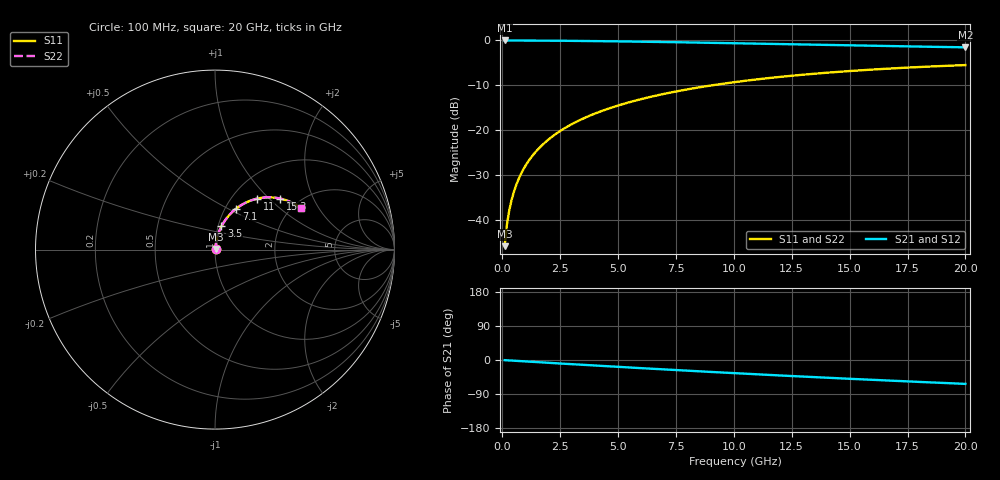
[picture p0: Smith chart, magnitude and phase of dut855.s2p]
! Touchstone file exported from HFSS 2026.1.0
!  File:  C:/ffzhzh/LocalFiles/Ansys_Project_Files/temp_train_TMRDL_855_1783157057_55132.aedt
!  Generated:  05:25:40 PM Jul  4, 2026
!  Design:  TMRDL
!  Project:  temp_train_TMRDL_855_1783157057_55132
! Variables:
!  h_bsmrdl = 2um
!  h_ox = 20um
!  h_rdl = 5um
!  h_sub = 80um
!  h_tmrdl = 5.8um
!  h_tsv = 80um
!  h_via = 3um
!  l_bsmrdl = 300um
!  l_sub = 1394.77um
!  l_tmrdl = 994.77um
!  m_sub = 200um
!  pitch = 59.33um
!  r_tsv = 6um
!  s_tmrdl = 10um
!  w_bsmrdl = 18um
!  w_sub = 500um
!  w_tmrdl = 22.95um
!  x_tsv_center1 = 1006.245um
!  x_tsv_center2 = 1324.245um
!  x_tsv_center3 = 2341.965um
!  x_tsv_center4 = 2659.965um
!  x_tsv_center5 = 3677.685um
!  x_tsv_center6 = 3995.685um
# GHz S MA R 50.000000
! Terminal data exported
! Port[1] = TM_RDL1_1_T1
! Port[2] = TM_RDL1_1_T2
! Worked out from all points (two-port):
!   200 points, 100 MHz to 20 GHz, reference 50 ohm
!   highest |S21| = -0.02 dB at 100 MHz (marker M1); lowest = -1.6 dB at 20 GHz (marker M2)
!   |S21| within 3 dB of the highest: start of sweep to end of sweep
!   lowest |S11| = -45.9 dB at 100 MHz (marker M3), VSWR 1.01, Z = 50.3 + j0.424 ohm
!   |S11| at or under -10 dB: start of sweep to 9.086 GHz
!   |S22| runs from -45.9 to -5.5 dB; largest |S21 - S12| = 2.7e-14
!   S11 on the Smith chart (normalised r, x): 100 MHz: 1.01, +0.01; 3.5 GHz: 1.04, +0.27; 7.1 GHz: 1.13, +0.55; 11 GHz: 1.30, +0.85; 15.3 GHz: 1.62, +1.17; 20 GHz: 2.20, +1.41
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0.1  0.005085 55.9  0.9972 -0.4  0.9972 -0.4  0.005085 55.9
! Gamma 0 0 0 0
! Port Impedance 50 0 50 0
0.2  0.008852 69.3  0.997 -0.8  0.997 -0.8  0.008852 69.3
0.3  0.01271 74.4  0.9967 -1.1  0.9967 -1.1  0.01271 74.4
0.4  0.01659 77.0  0.9966 -1.5  0.9966 -1.5  0.01659 77.0
0.5  0.02047 78.5  0.9964 -1.9  0.9964 -1.9  0.02047 78.5
0.7  0.02827 80.1  0.9961 -2.6  0.9961 -2.6  0.02827 80.1
1  0.03999 80.8  0.9954 -3.7  0.9954 -3.7  0.03999 80.8
1.4  0.05558 80.5  0.9943 -5.2  0.9943 -5.2  0.05558 80.5
2  0.07871 79.1  0.9921 -7.4  0.9921 -7.4  0.07871 79.1
2.7  0.1052 77.0  0.9889 -9.9  0.9889 -9.9  0.1052 77.0
3.5  0.1347 74.4  0.9844 -12.8  0.9844 -12.8  0.1347 74.4
4.2  0.1598 72.1  0.9799 -15.3  0.9799 -15.3  0.1598 72.1
5  0.1878 69.5  0.9742 -18.1  0.9742 -18.1  0.1878 69.5
6.8  0.2474 63.6  0.9596 -24.2  0.9596 -24.2  0.2474 63.6
7.1  0.2569 62.7  0.957 -25.2  0.957 -25.2  0.2569 62.7
8.5  0.2994 58.2  0.944 -29.8  0.944 -29.8  0.2994 58.2
10.1  0.3441 53.3  0.9282 -35.0  0.9282 -35.0  0.3441 53.3
11  0.3674 50.5  0.9191 -37.8  0.9191 -37.8  0.3674 50.5
13.4  0.423 43.5  0.8947 -45.0  0.8947 -45.0  0.423 43.5
15.3  0.4605 38.2  0.8761 -50.4  0.8761 -50.4  0.4605 38.2
16.7  0.4845 34.4  0.8631 -54.3  0.8631 -54.3  0.4845 34.4
20  0.5302 25.8  0.8363 -63.0  0.8363 -63.0  0.5301 25.8
